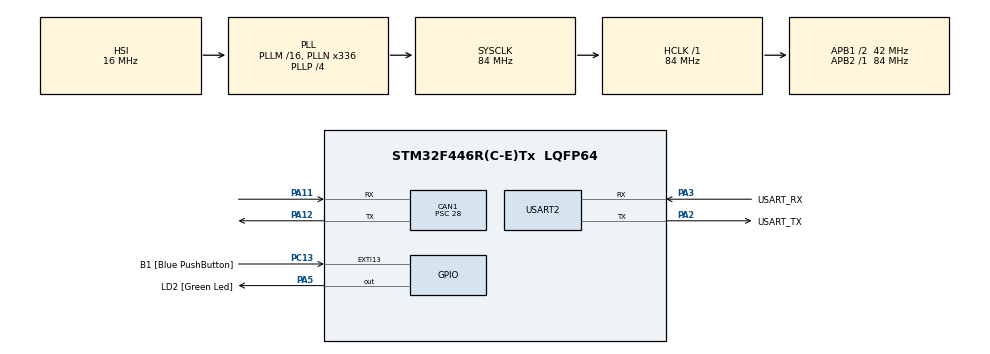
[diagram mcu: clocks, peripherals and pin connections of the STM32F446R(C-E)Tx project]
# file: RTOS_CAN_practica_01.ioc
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CAN1.BS1=CAN_BS1_9TQ
CAN1.BS2=CAN_BS2_2TQ
CAN1.CalculateBaudRate=124999
CAN1.CalculateTimeBit=8000
CAN1.CalculateTimeQuantum=666.6666666666667
CAN1.Mode=CAN_MODE_SILENT_LOOPBACK
CAN1.Prescaler=28
FREERTOS.Tasks01=defaultTask,24,128,StartDefaultTask,Default,NULL,Dynamic,NULL,NULL
FREERTOS.configUSE_NEWLIB_REENTRANT=1
IWDG.Prescaler=IWDG_PRESCALER_32
IWDG.Reload=2499
Mcu.Family=STM32F4
Mcu.Name=STM32F446R(C-E)Tx
Mcu.Package=LQFP64
NVIC.CAN1_RX0_IRQn=true\:5\:0\:false\:false\:true\:true\:true\:true\:true
NVIC.PriorityGroup=NVIC_PRIORITYGROUP_4
NVIC.TIM6_DAC_IRQn=true\:15\:0\:false\:false\:true\:false\:false\:true\:true
NVIC.TimeBase=TIM6_DAC_IRQn
NVIC.TimeBaseIP=TIM6
PA11.Mode=CAN_Activate
PA11.Signal=CAN1_RX
PA12.Mode=CAN_Activate
PA12.Signal=CAN1_TX
PA13.GPIO_Label=TMS
PA13.Signal=SYS_JTMS-SWDIO
PA14.GPIO_Label=TCK
PA14.Signal=SYS_JTCK-SWCLK
PA2.GPIO_Label=USART_TX
PA2.Mode=Asynchronous
PA2.Signal=USART2_TX
PA3.GPIO_Label=USART_RX
PA3.Mode=Asynchronous
PA3.Signal=USART2_RX
PA5.GPIO_Label=LD2 [Green Led]
PA5.Signal=GPIO_Output
PB3.GPIO_Label=SWO
PB3.Signal=SYS_JTDO-SWO
PC13.GPIO_Label=B1 [Blue PushButton]
PC13.GPIO_ModeDefaultEXTI=GPIO_MODE_IT_FALLING
PC13.Signal=GPXTI13
PC14-OSC32_IN.Mode=LSE-External-Oscillator
PC14-OSC32_IN.Signal=RCC_OSC32_IN
PC15-OSC32_OUT.Mode=LSE-External-Oscillator
PC15-OSC32_OUT.Signal=RCC_OSC32_OUT
PH0-OSC_IN.Mode=HSE-External-Oscillator
PH0-OSC_IN.Signal=RCC_OSC_IN
PH1-OSC_OUT.Mode=HSE-External-Oscillator
PH1-OSC_OUT.Signal=RCC_OSC_OUT
ProjectManager.HeapSize=0x1000
ProjectManager.StackSize=0x400
ProjectManager.TargetToolchain=STM32CubeIDE
RCC.AHBFreq_Value=84000000
RCC.APB1CLKDivider=RCC_HCLK_DIV2
RCC.APB1Freq_Value=42000000
RCC.APB1TimFreq_Value=84000000
RCC.APB2Freq_Value=84000000
RCC.APB2TimFreq_Value=84000000
RCC.CortexFreq_Value=84000000
RCC.FLatency-AdvancedSettings=FLASH_LATENCY_2
RCC.HCLKFreq_Value=84000000
RCC.HSE_VALUE=8000000
RCC.HSI_VALUE=16000000
RCC.PLLN=336
RCC.PLLP=RCC_PLLP_DIV4
RCC.SYSCLKFreq_VALUE=84000000
RCC.SYSCLKSource=RCC_SYSCLKSOURCE_PLLCLK
RCC.USBFreq_Value=168000000
RCC.VCOOutputFreq_Value=336000000
USART2.VirtualMode=VM_ASYNC
VP_FREERTOS_VS_CMSIS_V2.Mode=CMSIS_V2
VP_IWDG_VS_IWDG.Mode=IWDG_Activate
VP_SYS_VS_tim6.Mode=TIM6
board=NUCLEO-F446RE

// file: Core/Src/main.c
/* USER CODE BEGIN Header */
/**
  ******************************************************************************
  * @file           : main.c
  * @brief          : Main program body
  ******************************************************************************
  * @attention
  *
  * Copyright (c) 2026 STMicroelectronics.
  * All rights reserved.
  *
  * This software is licensed under terms that can be found in the LICENSE file
  * in the root directory of this software component.
  * If no LICENSE file comes with this software, it is provided AS-IS.
  *
  ******************************************************************************
  */
/* USER CODE END Header */
#include "main.h"
#include "cmsis_os.h"
#include "can.h"
#include "iwdg.h"
#include "usart.h"
#include "gpio.h"
#include <stdio.h>
#include <string.h>

/* USER CODE BEGIN Includes */
#include "bcm_sim.h"   /* generado con: cantools generate_c_source bcm_sim.dbc */
/* USER CODE END Includes */

/* USER CODE BEGIN PTD */
typedef struct {
    uint16_t rpm;
    int8_t   coolant_temp_c;
    uint8_t  engine_running;
    uint32_t rx_count;
} EngineStatus_t;

/* Dinamica del vehiculo: velocidad y freno. Senales independientes del motor,
 * simulan lo que en un vehiculo real vendria del ABS/ESP module (velocidad de
 * ruedas) y del pedal de freno, via el bus CAN de carroceria. */
typedef struct {
    uint16_t vehicle_speed_kph_x10; /* km/h * 10, ej. 355 = 35.5 km/h */
    uint8_t  brake_pedal_pct;       /* 0-100, BrakeStatus.BrakePedalPct */
    uint8_t  brake_override_flag;   /* capa de seguridad NO-ML, BrakeStatus.BrakeOverrideFlag */
    uint32_t rx_count;
} VehicleDynamics_t;

typedef struct {
    volatile uint32_t led_alive_tick;
    volatile uint32_t can_tx_alive_tick;
    volatile uint32_t can_rx_alive_tick;
    volatile uint32_t vehicle_tx_alive_tick;
} TaskHealth_t;
/* USER CODE END PTD */

/* USER CODE BEGIN PD */
/* Los IDs (BCM_SIM_*_FRAME_ID) y longitudes (BCM_SIM_*_LENGTH) vienen de
 * bcm_sim.h, generado desde bcm_sim.dbc. Una sola fuente de verdad. */
/* USER CODE END PD */

/* USER CODE BEGIN PV */
typedef enum {
    RESET_REASON_UNKNOWN = 0,
    RESET_REASON_POWER_ON,
    RESET_REASON_PIN,
    RESET_REASON_SOFTWARE,
    RESET_REASON_IWDG,
    RESET_REASON_WWDG,
    RESET_REASON_LOW_POWER
} ResetReason_t;

volatile ResetReason_t g_reset_reason = RESET_REASON_UNKNOWN;
/* Estas variables las CREA freertos.c -- aqui solo las referenciamos */
extern EngineStatus_t     g_engine_status;
extern VehicleDynamics_t  g_vehicle_dynamics;
extern TaskHealth_t       g_task_health;
extern osMutexId_t        canDataMutexHandle;

/* USER CODE END PV */

void SystemClock_Config(void);
void MX_FREERTOS_Init(void);
/* USER CODE BEGIN PFP */

static void CAN_Filter_Config(void);
static void Error_Handler_Ctx(const char *where);   // <-- AGREGA ESTA LÍNEA
static void CAN_Diag_Print(const char *tag);   /* diagnostico via UART, vive en main.c (no en el HAL vendor) */
extern void UART_Print(const char *msg);   /* definida en freertos.c */
/* USER CODE END PFP */

/* USER CODE BEGIN 0 */
static ResetReason_t Reset_Reason_Get(void)
{
    ResetReason_t reason = RESET_REASON_UNKNOWN;

    if (__HAL_RCC_GET_FLAG(RCC_FLAG_IWDGRST)) {
        reason = RESET_REASON_IWDG;
    } else if (__HAL_RCC_GET_FLAG(RCC_FLAG_WWDGRST)) {
        reason = RESET_REASON_WWDG;
    } else if (__HAL_RCC_GET_FLAG(RCC_FLAG_SFTRST)) {
        reason = RESET_REASON_SOFTWARE;
    } else if (__HAL_RCC_GET_FLAG(RCC_FLAG_PORRST)) {
        reason = RESET_REASON_POWER_ON;
    } else if (__HAL_RCC_GET_FLAG(RCC_FLAG_PINRST)) {
        reason = RESET_REASON_PIN;
    } else if (__HAL_RCC_GET_FLAG(RCC_FLAG_LPWRRST)) {
        reason = RESET_REASON_LOW_POWER;
    }

    __HAL_RCC_CLEAR_RESET_FLAGS();   /* limpia las banderas para el próximo reset */

    return reason;
}
static void CAN_Filter_Config(void)
{
    CAN_FilterTypeDef filterConfig;

    filterConfig.FilterBank = 0;
    filterConfig.FilterMode = CAN_FILTERMODE_IDMASK;
    filterConfig.FilterScale = CAN_FILTERSCALE_32BIT;
    filterConfig.FilterIdHigh = 0x0000;
    filterConfig.FilterIdLow = 0x0000;
    filterConfig.FilterMaskIdHigh = 0x0000;
    filterConfig.FilterMaskIdLow = 0x0000;
    filterConfig.FilterFIFOAssignment = CAN_RX_FIFO0;
    filterConfig.FilterActivation = ENABLE;
    filterConfig.SlaveStartFilterBank = 14;

    if (HAL_CAN_ConfigFilter(&hcan1, &filterConfig) != HAL_OK) {
        Error_Handler_Ctx("HAL_CAN_ConfigFilter");
    }
}
static void Error_Handler_Ctx(const char *where)
{
    char diag[100];
    snprintf(diag, sizeof(diag), "ERROR_HANDLER desde: %s | CAN ErrorCode=0x%08lX State=%d\r\n",
             where, (unsigned long)hcan1.ErrorCode, (int)hcan1.State);
    HAL_UART_Transmit(&huart2, (uint8_t*)diag, strlen(diag), 100);
    Error_Handler();
}

/* Diagnostico de bxCAN por UART. Reemplaza los prints que antes vivian
 * parcheados dentro de stm32f4xx_hal_can.c (mala practica: se pierden al
 * regenerar el HAL). Aqui quedan en codigo de usuario, a salvo de CubeMX. */
static void CAN_Diag_Print(const char *tag)
{
    char dbg[140];
    snprintf(dbg, sizeof(dbg),
             "DBG %s: MCR=0x%08lX MSR=0x%08lX ESR=0x%08lX State=%d ErrCode=0x%08lX\r\n",
             tag,
             (unsigned long)hcan1.Instance->MCR,
             (unsigned long)hcan1.Instance->MSR,
             (unsigned long)hcan1.Instance->ESR,
             (int)hcan1.State,
             (unsigned long)hcan1.ErrorCode);
    HAL_UART_Transmit(&huart2, (uint8_t*)dbg, strlen(dbg), 100);
}
/* USER CODE END 0 */

int main(void)
{
  /* MCU Configuration--------------------------------------------------------*/
  /* Reset of all peripherals, Initializes the Flash interface and the Systick. */
  HAL_Init();
  /* USER CODE BEGIN Init */
  g_reset_reason = Reset_Reason_Get();   // <-- breakpoint aquí
  /* USER CODE END Init */
  /* Configure the system clock */
  SystemClock_Config();
  /* Initialize all configured peripherals */
  MX_GPIO_Init();
  MX_CAN1_Init();
  MX_IWDG_Init();
  MX_USART2_UART_Init();
  /* USER CODE BEGIN 2 */
  switch (g_reset_reason) {
      case RESET_REASON_IWDG:
          HAL_UART_Transmit(&huart2, (uint8_t*)"RESET: IWDG\r\n", 13, 100);
          break;
      case RESET_REASON_SOFTWARE:
          HAL_UART_Transmit(&huart2, (uint8_t*)"RESET: SOFTWARE\r\n", 18, 100);
          break;
      case RESET_REASON_POWER_ON:
          HAL_UART_Transmit(&huart2, (uint8_t*)"RESET: POWER ON\r\n", 18, 100);
          break;
      case RESET_REASON_PIN:
          HAL_UART_Transmit(&huart2, (uint8_t*)"RESET: PIN/NRST\r\n", 18, 100);
          break;
      default:
          HAL_UART_Transmit(&huart2, (uint8_t*)"RESET: OTRO/DESCONOCIDO\r\n", 25, 100);
          break;
  }
  HAL_UART_Transmit(&huart2, (uint8_t*)"UART OK\r\n", 9, 100);

  CAN_Filter_Config();

  /* NOTA: ya no se repite aqui la salida de Sleep -- HAL_CAN_Init() (dentro de
   * MX_CAN1_Init) ya la hace y espera SLAK. Repetirla era codigo muerto que
   * solo agregaba ruido al diagnostico. */

  CAN_Diag_Print("antes de Start");

  if (HAL_CAN_Start(&hcan1) != HAL_OK) {
      CAN_Diag_Print("HAL_CAN_Start FALLO");
      Error_Handler_Ctx("HAL_CAN_Start");
  }

  CAN_Diag_Print("CAN arrancado OK");

  HAL_CAN_ActivateNotification(&hcan1, CAN_IT_RX_FIFO0_MSG_PENDING);
  /* USER CODE END 2 */
  /* Init scheduler */
  osKernelInitialize();  /* Call init function for freertos objects (in cmsis_os2.c) */
  MX_FREERTOS_Init();
  /* Start scheduler */
  osKernelStart();
  /* We should never get here as control is now taken by the scheduler */
  /* Infinite loop */
  while (1)
  {
  }
}

void SystemClock_Config(void)
{
  RCC_OscInitTypeDef RCC_OscInitStruct = {0};
  RCC_ClkInitTypeDef RCC_ClkInitStruct = {0};

  /** Configure the main internal regulator output voltage
  */
  __HAL_RCC_PWR_CLK_ENABLE();
  __HAL_PWR_VOLTAGESCALING_CONFIG(PWR_REGULATOR_VOLTAGE_SCALE3);

  /** Initializes the RCC Oscillators according to the specified parameters
  * in the RCC_OscInitTypeDef structure.
  */
  RCC_OscInitStruct.OscillatorType = RCC_OSCILLATORTYPE_HSI|RCC_OSCILLATORTYPE_LSI;
  RCC_OscInitStruct.HSIState = RCC_HSI_ON;
  RCC_OscInitStruct.HSICalibrationValue = RCC_HSICALIBRATION_DEFAULT;
  RCC_OscInitStruct.LSIState = RCC_LSI_ON;
  RCC_OscInitStruct.PLL.PLLState = RCC_PLL_ON;
  RCC_OscInitStruct.PLL.PLLSource = RCC_PLLSOURCE_HSI;
  RCC_OscInitStruct.PLL.PLLM = 16;
  RCC_OscInitStruct.PLL.PLLN = 336;
  RCC_OscInitStruct.PLL.PLLP = RCC_PLLP_DIV4;
  RCC_OscInitStruct.PLL.PLLQ = 2;
  RCC_OscInitStruct.PLL.PLLR = 2;
  if (HAL_RCC_OscConfig(&RCC_OscInitStruct) != HAL_OK)
  {
    Error_Handler();
  }

  /** Initializes the CPU, AHB and APB buses clocks
  */
  RCC_ClkInitStruct.ClockType = RCC_CLOCKTYPE_HCLK|RCC_CLOCKTYPE_SYSCLK
                              |RCC_CLOCKTYPE_PCLK1|RCC_CLOCKTYPE_PCLK2;
  RCC_ClkInitStruct.SYSCLKSource = RCC_SYSCLKSOURCE_PLLCLK;
  RCC_ClkInitStruct.AHBCLKDivider = RCC_SYSCLK_DIV1;
  RCC_ClkInitStruct.APB1CLKDivider = RCC_HCLK_DIV2;
  RCC_ClkInitStruct.APB2CLKDivider = RCC_HCLK_DIV1;

  if (HAL_RCC_ClockConfig(&RCC_ClkInitStruct, FLASH_LATENCY_2) != HAL_OK)
  {
    Error_Handler();
  }
}

/* USER CODE BEGIN 4 */
void HAL_CAN_RxFifo0MsgPendingCallback(CAN_HandleTypeDef *hcan)
{
    CAN_RxHeaderTypeDef rxHeader;
    uint8_t rxData[8];

    if (HAL_CAN_GetRxMessage(hcan, CAN_RX_FIFO0, &rxHeader, rxData) != HAL_OK) {
        return;
    }

    if (rxHeader.StdId == BCM_SIM_ENGINE_STATUS_FRAME_ID) {
        struct bcm_sim_engine_status_t msg;

        if (bcm_sim_engine_status_unpack(&msg, rxData, rxHeader.DLC) != 0) {
            return;   /* frame corrupto o de longitud invalida, se descarta */
        }

        UBaseType_t uxSavedInterruptStatus = taskENTER_CRITICAL_FROM_ISR();

        g_engine_status.rpm            = msg.rpm; /* escala 1, raw == fisico */
        g_engine_status.coolant_temp_c = (int8_t)bcm_sim_engine_status_coolant_temp_decode(msg.coolant_temp);
        g_engine_status.engine_running = msg.engine_running;
        g_engine_status.rx_count++;

        taskEXIT_CRITICAL_FROM_ISR(uxSavedInterruptStatus);

        g_task_health.can_rx_alive_tick = osKernelGetTickCount();
    }
    else if (rxHeader.StdId == BCM_SIM_VEHICLE_SPEED_FRAME_ID) {
        struct bcm_sim_vehicle_speed_t msg;

        if (bcm_sim_vehicle_speed_unpack(&msg, rxData, rxHeader.DLC) != 0) {
            return;
        }

        UBaseType_t uxSavedInterruptStatus = taskENTER_CRITICAL_FROM_ISR();

        /* msg.speed ya esta en decimas de km/h (raw), coincide con nuestro campo x10 */
        g_vehicle_dynamics.vehicle_speed_kph_x10 = msg.speed;
        g_vehicle_dynamics.rx_count++;

        taskEXIT_CRITICAL_FROM_ISR(uxSavedInterruptStatus);

        g_task_health.can_rx_alive_tick = osKernelGetTickCount();
    }
    else if (rxHeader.StdId == BCM_SIM_BRAKE_STATUS_FRAME_ID) {
        struct bcm_sim_brake_status_t msg;

        if (bcm_sim_brake_status_unpack(&msg, rxData, rxHeader.DLC) != 0) {
            return;
        }

        UBaseType_t uxSavedInterruptStatus = taskENTER_CRITICAL_FROM_ISR();

        g_vehicle_dynamics.brake_pedal_pct     = msg.brake_pedal_pct;
        g_vehicle_dynamics.brake_override_flag = msg.brake_override_flag;
        g_vehicle_dynamics.rx_count++;

        taskEXIT_CRITICAL_FROM_ISR(uxSavedInterruptStatus);

        g_task_health.can_rx_alive_tick = osKernelGetTickCount();
    }
}

void HAL_GPIO_EXTI_Callback(uint16_t GPIO_Pin)
{
    if (GPIO_Pin == GPIO_PIN_13) {
        extern osSemaphoreId_t buttonSemHandle;  /* definida en freertos.c */
        osSemaphoreRelease(buttonSemHandle);
    }
}
/* USER CODE END 4 */

void HAL_TIM_PeriodElapsedCallback(TIM_HandleTypeDef *htim)
{
  if (htim->Instance == TIM6)
  {
    HAL_IncTick();
  }
}

void Error_Handler(void)
{
  __disable_irq();
  while (1)
  {
  }
}

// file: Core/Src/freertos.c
/* USER CODE BEGIN Header */
/**
 ******************************************************************************
 * File Name          : freertos.c
 * Description        : Code for freertos applications
 ******************************************************************************
 * @attention
 *
 * Copyright (c) 2026 STMicroelectronics.
 * All rights reserved.
 *
 * This software is licensed under terms that can be found in the LICENSE file
 * in the root directory of this software component.
 * If no LICENSE file comes with this software, it is provided AS-IS.
 *
 ******************************************************************************
 */
/* USER CODE END Header */

#include "FreeRTOS.h"
#include "task.h"
#include "main.h"
#include "cmsis_os.h"

/* USER CODE BEGIN Includes */

#include <string.h>
#include <stdio.h>
#include "can.h"
#include "usart.h"
#include "iwdg.h"
#include "bcm_sim.h"   /* generado con: cantools generate_c_source bcm_sim.dbc */
#include "dtc_synth_gen.h"
/* USER CODE END Includes */

/* USER CODE BEGIN PTD */
typedef struct {
	uint16_t rpm;
	int8_t coolant_temp_c;
	uint8_t engine_running;
	uint32_t rx_count;
} EngineStatus_t;

typedef struct {
	uint16_t vehicle_speed_kph_x10;
	uint8_t  brake_pedal_pct;
	uint8_t  brake_override_flag;
	uint32_t rx_count;
} VehicleDynamics_t;

typedef struct {
	volatile uint32_t led_alive_tick;
	volatile uint32_t can_tx_alive_tick;
	volatile uint32_t can_rx_alive_tick;
	volatile uint32_t vehicle_tx_alive_tick;
} TaskHealth_t;
/* USER CODE END PTD */

/* USER CODE BEGIN PD */
/* Los IDs de mensaje ya no se hardcodean aqui: vienen de bcm_sim.h
 * (BCM_SIM_ENGINE_STATUS_FRAME_ID, etc.), generados directo desde la DBC.
 * Si la DBC cambia, este codigo se recompila con los IDs correctos --
 * ya no hay que sincronizar numeros a mano en dos lugares. */
/* USER CODE END PD */

/* USER CODE BEGIN Variables */
EngineStatus_t    g_engine_status    = { 0 };
VehicleDynamics_t g_vehicle_dynamics = { 0 };
TaskHealth_t      g_task_health      = { 0 };

osMutexId_t uartMutexHandle;
osMutexId_t canDataMutexHandle;
osSemaphoreId_t buttonSemHandle;

osThreadId_t ledTaskHandle;
osThreadId_t dtcSynthGenTaskHandle;
osThreadId_t canRxPrintTaskHandle;
osThreadId_t buttonTaskHandle;
osThreadId_t watchdogTaskHandle;

const osThreadAttr_t ledTask_attributes = { .name = "LedTask", .stack_size = 256
		* 4, .priority = (osPriority_t) osPriorityLow, };
const osThreadAttr_t dtcSynthGenTask_attributes = { .name = "DtcSynthGenTask",
		.stack_size = 1024 * 4, .priority = (osPriority_t) osPriorityNormal, };
const osThreadAttr_t canRxPrintTask_attributes = { .name = "CanRxPrintTask",
		.stack_size = 512 * 4, .priority = (osPriority_t) osPriorityNormal, };
const osThreadAttr_t buttonTask_attributes =
		{ .name = "ButtonTask", .stack_size = 256 * 4, .priority =
				(osPriority_t) osPriorityAboveNormal, };
const osThreadAttr_t watchdogTask_attributes = { .name = "WatchdogTask",
		.stack_size = 256 * 4, .priority = (osPriority_t) osPriorityHigh, };
/* USER CODE END Variables */
/* Definitions for defaultTask */
osThreadId_t defaultTaskHandle;
const osThreadAttr_t defaultTask_attributes = { .name = "defaultTask",
		.stack_size = 128 * 4, .priority = (osPriority_t) osPriorityNormal, };

/* USER CODE BEGIN FunctionPrototypes */

void StartLedTask(void *argument);
void StartCanRxPrintTask(void *argument);
void StartButtonTask(void *argument);
void StartWatchdogTask(void *argument);
void UART_Print(const char *msg); /* usada tambien desde main.c */
/* USER CODE END FunctionPrototypes */

void StartDefaultTask(void *argument);

void MX_FREERTOS_Init(void); /* (MISRA C 2004 rule 8.1) */

void MX_FREERTOS_Init(void) {

	/* USER CODE BEGIN RTOS_MUTEX */
	/* add mutexes, ... */
	const osMutexAttr_t uartMutex_attr = { .name = "uartMutex" };
	uartMutexHandle = osMutexNew(&uartMutex_attr);

	const osMutexAttr_t canMutex_attr = { .name = "canDataMutex" };
	canDataMutexHandle = osMutexNew(&canMutex_attr);
	/* USER CODE END RTOS_MUTEX */

	/* USER CODE BEGIN RTOS_SEMAPHORES */
	/* add semaphores, ... */
	buttonSemHandle = osSemaphoreNew(1, 0, NULL); /* binario, inicia en 0 */
	/* USER CODE END RTOS_SEMAPHORES */

	/* Create the thread(s) */
	/* creation of defaultTask */
	defaultTaskHandle = osThreadNew(StartDefaultTask, NULL,
			&defaultTask_attributes);

	/* USER CODE BEGIN RTOS_THREADS */
	/* add threads, ... */
	ledTaskHandle = osThreadNew(StartLedTask, NULL, &ledTask_attributes);
	if (ledTaskHandle == NULL) {
	    UART_Print("ERROR: no se pudo crear LedTask\r\n");
	}

	/* NOTA: StartCanTxTask/StartVehicleTxTask (rampa simple sin fallas) quedan
	 * REEMPLAZADAS por StartDtcSynthGenTask, que transmite las mismas
	 * EngineStatus/VehicleSpeed/BrakeStatus (0x100/0x101/0x102) MAS
	 * PowertrainHealth/ChassisHealth/ThrottleSubsystem, ciclando los 14
	 * escenarios de fallas del generador multi-DTC. No corras ambas juntas:
	 * competirian por los mismos IDs. */
	dtcSynthGenTaskHandle = osThreadNew(StartDtcSynthGenTask, NULL, &dtcSynthGenTask_attributes);
	if (dtcSynthGenTaskHandle == NULL) {
	    UART_Print("ERROR: no se pudo crear DtcSynthGenTask\r\n");
	}

	canRxPrintTaskHandle = osThreadNew(StartCanRxPrintTask, NULL,&canRxPrintTask_attributes);
	if (canRxPrintTaskHandle == NULL) {
	    UART_Print("ERROR: no se pudo crear CanRxPrintTask\r\n");
	}
	buttonTaskHandle = osThreadNew(StartButtonTask, NULL,&buttonTask_attributes);
	if (buttonTaskHandle == NULL) {
	    UART_Print("ERROR: no se pudo crear ButtonTask\r\n");
	}
	watchdogTaskHandle = osThreadNew(StartWatchdogTask, NULL,&watchdogTask_attributes);
	/* USER CODE END RTOS_THREADS */

}

void StartDefaultTask(void *argument) {
	for (;;) {
		osDelay(1);
	}
}

/* USER CODE BEGIN Application */

void UART_Print(const char *msg) {
	if (osMutexAcquire(uartMutexHandle, 100) == osOK) {
		HAL_UART_Transmit(&huart2, (uint8_t*) msg, strlen(msg), 100);
		osMutexRelease(uartMutexHandle);
	}
}

void StartLedTask(void *argument)
{
	UART_Print("LedTask iniciada\r\n");   // <-- agrega esto
	for (;;) {
		HAL_GPIO_TogglePin(GPIOA, GPIO_PIN_5);
		g_task_health.led_alive_tick = osKernelGetTickCount();
		osDelay(500);
	}
}

void StartCanRxPrintTask(void *argument) {
	char buf[160];
	EngineStatus_t local_engine;
	VehicleDynamics_t local_vehicle;

	for (;;) {
		if (osMutexAcquire(canDataMutexHandle, 50) == osOK) {
			local_engine  = g_engine_status;
			local_vehicle = g_vehicle_dynamics;
			osMutexRelease(canDataMutexHandle);

			snprintf(buf, sizeof(buf),
					"RPM=%u CoolantTemp=%dC Running=%u | Speed=%u.%ukmh BrakePedal=%u%% Override=%u | RxCount=%lu\r\n",
					local_engine.rpm, local_engine.coolant_temp_c,
					local_engine.engine_running,
					(unsigned)(local_vehicle.vehicle_speed_kph_x10 / 10),
					(unsigned)(local_vehicle.vehicle_speed_kph_x10 % 10),
					local_vehicle.brake_pedal_pct,
					local_vehicle.brake_override_flag,
					(unsigned long) (local_engine.rx_count + local_vehicle.rx_count));
			UART_Print(buf);
		}
		osDelay(500);
	}
}

void StartButtonTask(void *argument) {
	for (;;) {
		if (osSemaphoreAcquire(buttonSemHandle, osWaitForever) == osOK) {
			UART_Print(
					">>> Boton presionado -- forzando reporte de estado <<<\r\n");
		}
	}
}

void StartWatchdogTask(void *argument) {
	const uint32_t MAX_SILENCE_MS = 1000;

	uint32_t boot_tick = osKernelGetTickCount();
	g_task_health.led_alive_tick        = boot_tick;
	g_task_health.can_tx_alive_tick     = boot_tick;
	g_task_health.can_rx_alive_tick     = boot_tick;
	g_task_health.vehicle_tx_alive_tick = boot_tick;

	for (;;) {
		uint32_t now = osKernelGetTickCount();
		uint8_t all_healthy = 1;

		if ((now - g_task_health.led_alive_tick) > MAX_SILENCE_MS)
			all_healthy = 0;
		if ((now - g_task_health.can_tx_alive_tick) > MAX_SILENCE_MS)
			all_healthy = 0;
		if ((now - g_task_health.can_rx_alive_tick) > MAX_SILENCE_MS)
			all_healthy = 0;
		if ((now - g_task_health.vehicle_tx_alive_tick) > MAX_SILENCE_MS)
			all_healthy = 0;

		if (all_healthy) {
			HAL_IWDG_Refresh(&hiwdg);
		} else {
		    char diag[130];
		    snprintf(diag, sizeof(diag),
		             "CRITICAL: LED=%lu TX=%lu RX=%lu VEHTX=%lu now=%lu\r\n",
		             (unsigned long)g_task_health.led_alive_tick,
		             (unsigned long)g_task_health.can_tx_alive_tick,
		             (unsigned long)g_task_health.can_rx_alive_tick,
		             (unsigned long)g_task_health.vehicle_tx_alive_tick,
		             (unsigned long)now);
		    UART_Print(diag);
		}

		osDelay(200);
	}
}
void vApplicationStackOverflowHook(TaskHandle_t xTask, char *pcTaskName)
{
    (void)xTask;
    UART_Print("STACK OVERFLOW EN: ");
    UART_Print(pcTaskName);
    UART_Print("\r\n");
    __disable_irq();
    while(1) { __NOP(); }
}

void vApplicationMallocFailedHook(void)
{
    UART_Print("MALLOC FAILED - HEAP AGOTADO\r\n");
    __disable_irq();
    while(1) { __NOP(); }
}
/* USER CODE END Application */
